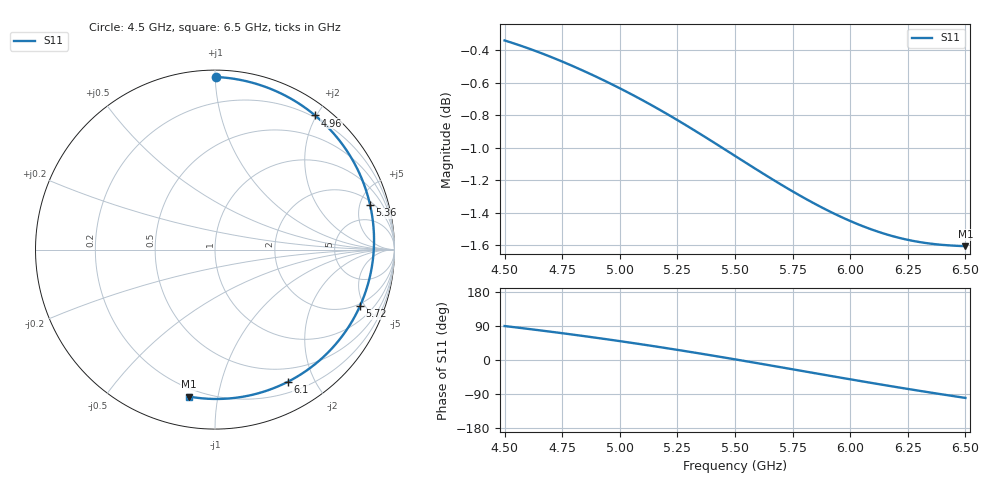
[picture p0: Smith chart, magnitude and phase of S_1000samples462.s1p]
! TOUCHSTONE file generated by CST MICROWAVE STUDIO
! Date and time: Fri Oct 28 06:11:54 2022
! Project name: L.cst
! Parameters = {Di=1.27; Epsilon_r=1.56; InnerDiameter=1.27; Length=2; Lf=10; Lg=60; OuterConductorThickness=0.2921; OuterDiameter=3.6; Wf=3; Wp=41.2; de=1.5; df=6.8; g=0.8; gx=2.79908; gy=3.02499; h=2.34; hf=1.524; px=8.32754; py=9.38792; w=9.7; wx=5.52845; wy=6.36293}
! Header version: 2018
! Port assignment regex: !\s*Touchstone port\s*([0-9]+)\s*=\s*(CST MWS port|CST DS port)\s*([0-9]+|Zmin|Zmax)\s*\(\"(.*)\"\)(\s*mode\s*([0-9]+))?.*
! Touchstone port assignment:
! Touchstone port 1 = CST MWS port 1 ("")
# GHz S DB R 50
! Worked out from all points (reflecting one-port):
!   101 points, 4.5 GHz to 6.5 GHz, reference 50 ohm
!   lowest |S11| = -1.6 dB at 6.5 GHz (marker M1), VSWR 10.86, Z = 7.79 - j41.3 ohm
!   phase of S11 starts at 90 deg and turns -190 deg over the sweep
!   S11 on the Smith chart (normalised r, x): 4.5 GHz: 0.04, +1.01; 4.96 GHz: 0.17, +1.98; 5.36 GHz: 2.42, +6.23; 5.72 GHz: 1.82, -4.62; 6.1 GHz: 0.33, -1.64; 6.5 GHz: 0.16, -0.83
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4.5  -0.34 89.6
4.58  -0.38 83.8
4.64  -0.41 79.2
4.76  -0.48 69.9
4.86  -0.54 61.8
4.96  -0.61 53.3
5  -0.63 49.8
5.06  -0.68 44.5
5.14  -0.74 37.1
5.26  -0.84 25.8
5.36  -0.92 15.9
5.44  -1.00 7.9
5.5  -1.05 1.7
5.6  -1.14 -8.7
5.66  -1.19 -15.0
5.72  -1.24 -21.3
5.76  -1.28 -25.6
5.82  -1.32 -31.9
5.88  -1.37 -38.3
5.94  -1.41 -44.6
6  -1.45 -50.9
6.1  -1.51 -61.3
6.18  -1.54 -69.4
6.26  -1.57 -77.3
6.32  -1.58 -83.2
6.38  -1.59 -88.9
6.44  -1.60 -94.5
6.5  -1.60 -100.1
